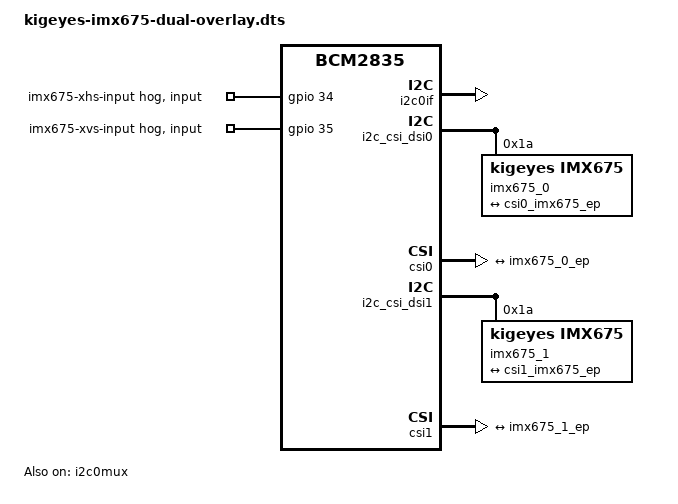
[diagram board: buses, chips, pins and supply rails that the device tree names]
// SPDX-License-Identifier: GPL-2.0-only
/dts-v1/;
/plugin/;

/*
 * KigEyes dual IMX675 setup for the CM5 CAM0 and CAM1 connectors.
 *
 * Each module has its own I2C bus and its own CH32 controller at 0x30, so
 * the identical addresses do not conflict.  The modules supply their own
 * 24 MHz oscillators; do not enable cam0_clk/cam1_clk because those pins
 * carry the XHS/XVS signals on these modules.
 */

/ {
	compatible = "brcm,bcm2835";

	fragment@0 {
		target = <&i2c0if>;
		__overlay__ {
			status = "okay";
		};
	};

	fragment@1 {
		target = <&i2c0mux>;
		__overlay__ {
			status = "okay";
		};
	};

	fragment@2 {
		target = <&i2c_csi_dsi0>;
		__overlay__ {
			#address-cells = <1>;
			#size-cells = <0>;
			status = "okay";

			imx675_0: camera@1a {
				compatible = "kigeyes,imx675";
				reg = <0x1a>;
				kigeyes,controller-address = <0x30>;
				kigeyes,sync-role = "master";
				rotation = <0>;
				orientation = <2>;

				port {
					imx675_0_ep: endpoint {
						clock-lanes = <0>;
						data-lanes = <1 2 3 4>;
						clock-noncontinuous;
						link-frequencies = /bits/ 64 <594000000 297000000>;
						remote-endpoint = <&csi0_imx675_ep>;
					};
				};
			};
		};
	};

	fragment@3 {
		target = <&csi0>;
		__overlay__ {
			status = "okay";

			port {
				csi0_imx675_ep: endpoint {
					clock-lanes = <0>;
					data-lanes = <1 2 3 4>;
					clock-noncontinuous;
					remote-endpoint = <&imx675_0_ep>;
				};
			};
		};
	};

	fragment@4 {
		target = <&i2c_csi_dsi1>;
		__overlay__ {
			#address-cells = <1>;
			#size-cells = <0>;
			status = "okay";

			imx675_1: camera@1a {
				compatible = "kigeyes,imx675";
				reg = <0x1a>;
				kigeyes,controller-address = <0x30>;
				kigeyes,sync-role = "master";
				rotation = <0>;
				orientation = <2>;

				port {
					imx675_1_ep: endpoint {
						clock-lanes = <0>;
						data-lanes = <1 2 3 4>;
						clock-noncontinuous;
						link-frequencies = /bits/ 64 <594000000 297000000>;
						remote-endpoint = <&csi1_imx675_ep>;
					};
				};
			};
		};
	};

	fragment@5 {
		target = <&csi1>;
		__overlay__ {
			status = "okay";

			port {
				csi1_imx675_ep: endpoint {
					clock-lanes = <0>;
					data-lanes = <1 2 3 4>;
					clock-noncontinuous;
					remote-endpoint = <&imx675_1_ep>;
				};
			};
		};
	};

	/*
	 * CAM_GPIO0/1 are the module's 1.8 V XHS/XVS, not power controls.
	 * Disable the base-board 3.3 V camera regulator output and permanently
	 * claim both RP1 pads as inputs so no Linux consumer can drive them.
	 */
	fragment@6 {
		target = <&cam0_reg>;
		__overlay__ {
			status = "disabled";
		};
	};

	fragment@7 {
		target = <&gpio>;
		__overlay__ {
			imx675_xhs_guard: imx675-xhs-guard {
				gpio-hog;
				gpios = <34 0>;
				input;
				line-name = "imx675-xhs-input";
			};

			imx675_xvs_guard: imx675-xvs-guard {
				gpio-hog;
				gpios = <35 0>;
				input;
				line-name = "imx675-xvs-input";
			};
		};
	};
};
